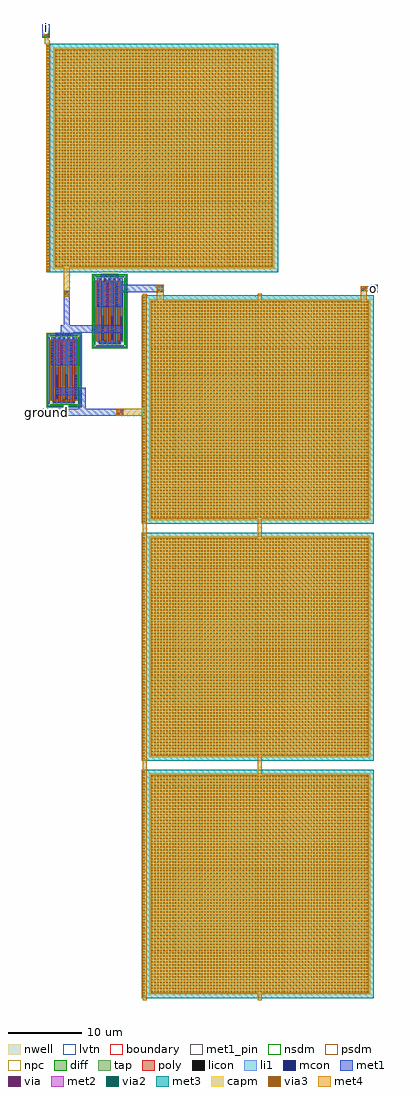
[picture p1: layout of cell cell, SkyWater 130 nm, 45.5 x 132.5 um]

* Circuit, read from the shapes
.subckt cell ground i o
XM1 ground n1 n1 n1 sky130_fd_pr__pfet_01v8_lvt w=8 l=0.35 m=5
XM2 n1 o o o sky130_fd_pr__pfet_01v8_lvt w=8 l=0.35 m=5
XC3 n1 i sky130_fd_pr__cap_mim_m3_1 w=30 l=30
XC4 o ground sky130_fd_pr__cap_mim_m3_1 w=30 l=30 m=3
.ends

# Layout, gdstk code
from math import pi, radians
import gdstk
lib = gdstk.Library(unit=1e-6, precision=1e-09)
def R(c, l, rs):  # rectangles x0, y0, x1, y1
    for r in rs: c.add(gdstk.rectangle(r[:2], r[2:], *l))
def A(c, l, x, y, w, h, nx, ny, dx, dy):  # array of equal rectangles
    R(c, l, [(x+i*dx, y+j*dy, x+i*dx+w, y+j*dy+h) for i in range(nx) for j in range(ny)])
nwell = (64, 20)
diff = (65, 20)
tap = (65, 44)
poly = (66, 20)
licon = (66, 44)
li1 = (67, 20)
mcon = (67, 44)
met1_pin = (68, 16)
met1 = (68, 20)
via = (68, 44)
met2 = (69, 20)
via2 = (69, 44)
met3 = (70, 20)
via3 = (70, 44)
met4 = (71, 20)
capm = (89, 44)
nsdm = (93, 44)
psdm = (94, 20)
npc = (95, 20)
lvtn = (125, 44)
boundary = (235, 4)

sky130_fd_pr__pfet_01v8_ = lib.new_cell('sky130_fd_pr__pfet_01v8_lvt_3F9YD3')
R(sky130_fd_pr__pfet_01v8_, nwell, [(-2.435,-5.095,2.435,5.095)])
R(sky130_fd_pr__pfet_01v8_, diff, [(-1.745,-4,1.745,4)])
R(sky130_fd_pr__pfet_01v8_, tap, [(-2.255,-4.915,2.255,-4.745), (-2.255,-4.745,-2.085,4.745), (2.085,-4.745,2.255,4.745), (-2.255,4.745,2.255,4.915)])
A(sky130_fd_pr__pfet_01v8_, poly, -1.455, -4.485, 0.35, 8.97, 5, 1, 0.64, 0)
A(sky130_fd_pr__pfet_01v8_, licon, -1.615, -4.915, 0.17, 0.17, 10, 2, 0.34, 9.66)
A(sky130_fd_pr__pfet_01v8_, licon, -1.365, -4.405, 0.17, 0.17, 5, 2, 0.64, 8.64)
A(sky130_fd_pr__pfet_01v8_, licon, -2.255, -4.335, 0.17, 0.17, 1, 26, 0, 0.34)
A(sky130_fd_pr__pfet_01v8_, licon, 2.085, -4.335, 0.17, 0.17, 1, 26, 0, 0.34)
A(sky130_fd_pr__pfet_01v8_, licon, -1.685, -3.825, 0.17, 0.17, 6, 23, 0.64, 0.34)
A(sky130_fd_pr__pfet_01v8_, li1, -1.455, -4.405, 0.35, 0.17, 5, 2, 0.64, 8.64)
A(sky130_fd_pr__pfet_01v8_, li1, -1.685, -4.02, 0.17, 8.04, 6, 1, 0.64, 0)
R(sky130_fd_pr__pfet_01v8_, li1, [(-2.255,-4.915,2.255,-4.745), (-2.255,-4.745,-2.085,4.745), (2.085,-4.745,2.255,4.745), (-2.255,4.745,2.255,4.915)])
A(sky130_fd_pr__pfet_01v8_, mcon, -1.365, -4.405, 0.17, 0.17, 5, 2, 0.64, 8.64)
A(sky130_fd_pr__pfet_01v8_, mcon, -1.045, -3.805, 0.17, 0.17, 3, 9, 1.28, 0.36)
A(sky130_fd_pr__pfet_01v8_, mcon, -1.685, 0.755, 0.17, 0.17, 3, 9, 1.28, 0.36)
A(sky130_fd_pr__pfet_01v8_, mcon, -0.985, 4.745, 0.17, 0.17, 6, 1, 0.36, 0)
A(sky130_fd_pr__pfet_01v8_, met1, -1.435, -4.435, 0.31, 0.23, 5, 2, 0.64, 8.64)
A(sky130_fd_pr__pfet_01v8_, met1, -1.075, -3.915, 0.23, 3.27, 3, 1, 1.28, 0)
A(sky130_fd_pr__pfet_01v8_, met1, -1.715, 0.645, 0.23, 3.27, 3, 1, 1.28, 0)
R(sky130_fd_pr__pfet_01v8_, met1, [(-1.1,4.715,1.1,4.945)])
R(sky130_fd_pr__pfet_01v8_, nsdm, [(-2.38,-5.04,2.38,-4.62), (-2.38,-4.62,-1.96,4.62), (1.96,-4.62,2.38,4.62), (-2.38,4.62,2.38,5.04)])
R(sky130_fd_pr__pfet_01v8_, psdm, [(-1.87,-4.125,1.87,4.125)])
A(sky130_fd_pr__pfet_01v8_, npc, -1.465, -4.505, 0.37, 0.37, 5, 2, 0.64, 8.64)
R(sky130_fd_pr__pfet_01v8_, lvtn, [(-1.635,-4.18,1.635,4.18)])
R(sky130_fd_pr__pfet_01v8_, boundary, [(-2.17,-4.83,2.17,4.83)])

sky130_fd_pr__cap_mim_m3 = lib.new_cell('sky130_fd_pr__cap_mim_m3_1_3MBNLG')
A(sky130_fd_pr__cap_mim_m3, met3, -15.75, -48.4, 31.495, 31, 1, 3, 0, 32.2)
A(sky130_fd_pr__cap_mim_m3, via3, 15.385, -48.2, 0.2, 0.2, 1, 77, 0, 0.4)
A(sky130_fd_pr__cap_mim_m3, via3, -14.95, -47.6, 0.2, 0.2, 74, 74, 0.4, 0.4)
A(sky130_fd_pr__cap_mim_m3, via3, 15.385, -16, 0.2, 0.2, 1, 77, 0, 0.4)
A(sky130_fd_pr__cap_mim_m3, via3, -14.95, -15.4, 0.2, 0.2, 74, 74, 0.4, 0.4)
A(sky130_fd_pr__cap_mim_m3, via3, 15.385, 16.2, 0.2, 0.2, 1, 77, 0, 0.4)
A(sky130_fd_pr__cap_mim_m3, via3, -14.95, 16.8, 0.2, 0.2, 74, 74, 0.4, 0.4)
A(sky130_fd_pr__cap_mim_m3, met4, 15.09, -48.34, 0.635, 30.88, 1, 3, 0, 32.2)
A(sky130_fd_pr__cap_mim_m3, met4, -15.055, -47.705, 29.61, 29.61, 1, 3, 0, 32.2)
R(sky130_fd_pr__cap_mim_m3, met4, [(-0.51,-48.65,0.01,-47.705), (15.09,-48.65,15.61,-48.34), (-0.51,-18.095,0.01,-15.505), (15.09,-17.46,15.61,-16.14), (-0.51,14.105,0.01,16.695), (15.09,14.74,15.61,16.06), (-0.51,46.305,0.01,47.25), (15.09,46.94,15.61,47.25)])
A(sky130_fd_pr__cap_mim_m3, capm, -15.25, -47.9, 30, 30, 1, 3, 0, 32.2)
R(sky130_fd_pr__cap_mim_m3, boundary, [(-15.75,16,15.25,47)])

c_sky130_fd_pr__cap_mim_m3 = lib.new_cell('sky130_fd_pr__cap_mim_m3_1_3HBNLG')
R(c_sky130_fd_pr__cap_mim_m3, met3, [(-15.75,-15.5,15.745,15.5)])
A(c_sky130_fd_pr__cap_mim_m3, via3, 15.385, -15.3, 0.2, 0.2, 1, 77, 0, 0.4)
A(c_sky130_fd_pr__cap_mim_m3, via3, -14.95, -14.7, 0.2, 0.2, 74, 74, 0.4, 0.4)
R(c_sky130_fd_pr__cap_mim_m3, met4, [(15.245,-15.44,15.725,15.44), (-15.055,-14.805,14.555,14.805)])
R(c_sky130_fd_pr__cap_mim_m3, capm, [(-15.25,-15,14.75,15)])
R(c_sky130_fd_pr__cap_mim_m3, boundary, [(-15.75,-15.5,15.25,15.5)])

cell = lib.new_cell('cell')
R(cell, met1_pin, [(-4.5,0.9,-3.5,1.9), (40,17.7,41,18.7), (-4.5,53.1,-3.5,54.1)])
R(cell, met1, [(-4.5,0.9,6.55,1.9), (0.4,1.9,1.4,3.7), (-3.1,2.6,-0.1,2.9), (-2.7,3.7,1.4,4.7), (-3.3,7.8,0.2,11.6), (3.2,10.6,6.1,10.9), (-2.7,11.6,-0.4,12.2), (-2,12.2,6.4,13.2), (-1.6,13.2,-0.8,17.9), (2.9,15.7,6.4,17.7), (2.9,17.7,12,18.7), (40,17.7,41,17.8), (38.7,17.8,41,18.5), (40,18.5,41,18.7), (2.9,18.7,6.4,19.6), (3.5,19.6,5.8,20.2), (-4.5,52.2,-3.5,54.1)])
A(cell, via, 5.655, 1.005, 0.15, 0.15, 3, 3, 0.32, 0.32)
R(cell, via, [(-1.435,17.265,-1.285,17.415), (-1.115,17.265,-0.965,17.415), (-1.435,17.585,-1.285,17.735), (-1.115,17.585,-0.965,17.735), (11.265,17.965,11.415,18.115), (11.585,17.965,11.735,18.115), (38.865,18.075,39.015,18.225), (39.185,18.075,39.335,18.225), (11.265,18.285,11.415,18.435), (11.585,18.285,11.735,18.435), (-4.235,52.465,-4.085,52.615), (-3.915,52.465,-3.765,52.615), (-4.235,52.785,-4.085,52.935), (-3.915,52.785,-3.765,52.935)])
R(cell, met2, [(5.6,0.9,6.5,1.9), (-1.5,17.15,-0.9,17.85), (11.1,17.75,11.9,18.65), (38.8,17.85,39.4,18.45), (-4.3,52.35,-3.7,53.05)])
R(cell, via2, [(5.75,1.1,5.95,1.3), (6.15,1.1,6.35,1.3), (5.75,1.5,5.95,1.7), (6.15,1.5,6.35,1.7), (-1.3,17.4,-1.1,17.6), (11.2,17.9,11.4,18.1), (11.6,17.9,11.8,18.1), (39,18.05,39.2,18.25), (11.2,18.3,11.4,18.5), (11.6,18.3,11.8,18.5), (-4.1,52.6,-3.9,52.8)])
R(cell, met3, [(5.55,0.925,6.55,1.875), (-1.55,17.175,-0.85,17.825), (11.05,17.775,11.95,18.625), (38.75,17.875,39.45,18.425), (-4.35,52.375,-3.65,53.025)])
R(cell, via3, [(5.75,1.1,5.95,1.3), (6.15,1.1,6.35,1.3), (5.75,1.5,5.95,1.7), (6.15,1.5,6.35,1.7), (-1.3,17.4,-1.1,17.6), (11.2,17.9,11.4,18.1), (11.6,17.9,11.8,18.1), (39,18.05,39.2,18.25), (11.2,18.3,11.4,18.5), (11.6,18.3,11.8,18.5), (-4.1,52.6,-3.9,52.8)])
R(cell, met4, [(5.55,0.9,9.65,1.9), (11,16.4,12,18.7), (38.7,16.4,39.5,18.5), (-1.6,17.1,-0.8,21.8), (-4,51.1,-3.5,51.4), (-4.2,51.4,-3.5,51.9), (-4.2,51.9,-3.7,52.395), (-4.305,52.395,-3.695,53.005)])
cell.add(gdstk.Reference(sky130_fd_pr__pfet_01v8_, (-1.565,7.095)))
cell.add(gdstk.Reference(sky130_fd_pr__pfet_01v8_, (4.635,15.095)))
cell.add(gdstk.Reference(sky130_fd_pr__cap_mim_m3, (24.745,-29.75), rotation=pi, x_reflection=True))
cell.add(gdstk.Reference(c_sky130_fd_pr__cap_mim_m3, (11.745,35.9), rotation=pi, x_reflection=True))
cell.add(gdstk.Label('ground', (-4,1.4), layer=68, texttype=16))
cell.add(gdstk.Label('o', (40.5,18.2), layer=68, texttype=16))
cell.add(gdstk.Label('i', (-4,53.6), layer=68, texttype=16))

lib.write_gds('cell.gds')
